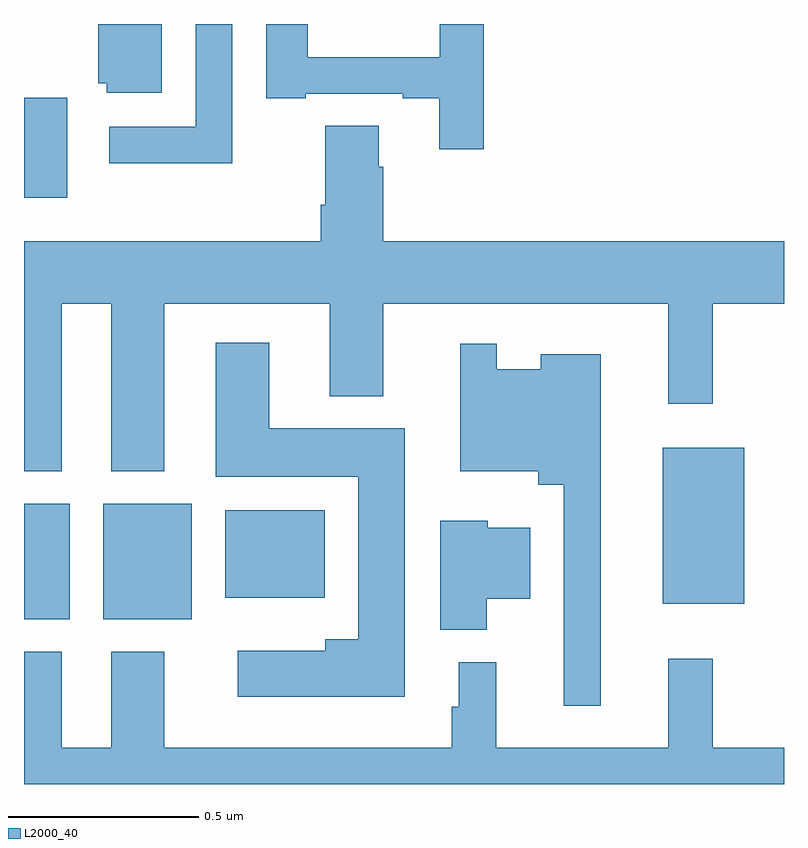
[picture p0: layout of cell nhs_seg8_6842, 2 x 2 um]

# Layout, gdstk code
import gdstk
lib = gdstk.Library(unit=1e-6, precision=1e-09)
def R(c, l, rs):  # rectangles x0, y0, x1, y1
    for r in rs: c.add(gdstk.rectangle(r[:2], r[2:], *l))
def P(c, l, *ps):  # polygons
    for p in ps: c.add(gdstk.Polygon(p, *l))
L2000_40 = (2000, 40)

nhs_seg8_6842 = lib.new_cell('nhs_seg8_6842')
R(nhs_seg8_6842, L2000_40, [(202,1118.333,202.12,1118.638), (202.208,1118.333,202.441,1118.638), (203.681,1118.375,203.896,1118.785), (202.529,1118.39,202.792,1118.62), (202,1119.443,202.114,1119.706)])
P(nhs_seg8_6842, L2000_40, [(202.363,1119.9),(202.196,1119.9),(202.196,1119.744),(202.218,1119.744),(202.218,1119.719),(202.363,1119.719)],
  [(202.548,1119.9),(202.452,1119.9),(202.452,1119.63),(202.224,1119.63),(202.224,1119.533),(202.548,1119.533)],
  [(203.21,1119.9),(203.094,1119.9),(203.094,1119.813),(202.747,1119.813),(202.747,1119.9),(202.637,1119.9),(202.637,1119.705),(202.741,1119.705),(202.741,1119.717),(202.997,1119.717),(202.997,1119.705),(203.093,1119.705),(203.093,1119.57),(203.21,1119.57)],
  [(202.946,1119.524),(202.933,1119.524),(202.933,1119.632),(202.793,1119.632),(202.793,1119.424),(202.781,1119.424),(202.781,1119.328),(202,1119.328),(202,1118.723),(202.099,1118.723),(202.099,1119.164),(202.229,1119.164),(202.229,1118.723),(202.369,1118.723),(202.369,1119.164),(202.805,1119.164),(202.805,1118.921),(202.945,1118.921),(202.945,1119.164),(203.696,1119.164),(203.696,1118.901),(203.813,1118.901),(203.813,1119.164),(204,1119.164),(204,1119.328),(202.946,1119.328)],
  [(203.002,1118.836),(202.645,1118.836),(202.645,1119.061),(202.505,1119.061),(202.505,1118.708),(202.88,1118.708),(202.88,1118.281),(202.793,1118.281),(202.793,1118.251),(202.563,1118.251),(202.563,1118.129),(203.002,1118.129)],
  [(203.518,1119.031),(203.36,1119.031),(203.36,1118.992),(203.244,1118.992),(203.244,1119.058),(203.148,1119.058),(203.148,1118.723),(203.353,1118.723),(203.353,1118.687),(203.421,1118.687),(203.421,1118.106),(203.518,1118.106)],
  [(203.218,1118.387),(203.332,1118.387),(203.332,1118.575),(203.22,1118.575),(203.22,1118.593),(203.096,1118.593),(203.096,1118.306),(203.218,1118.306)],
  [(204,1117.996),(203.813,1117.996),(203.813,1118.23),(203.696,1118.23),(203.696,1117.996),(203.243,1117.996),(203.243,1118.221),(203.144,1118.221),(203.144,1118.103),(203.125,1118.103),(203.125,1117.996),(202.369,1117.996),(202.369,1118.248),(202.229,1118.248),(202.229,1117.996),(202.099,1117.996),(202.099,1118.248),(202,1118.248),(202,1117.9),(204,1117.9)])

lib.write_gds('nhs_seg8_6842.gds')
